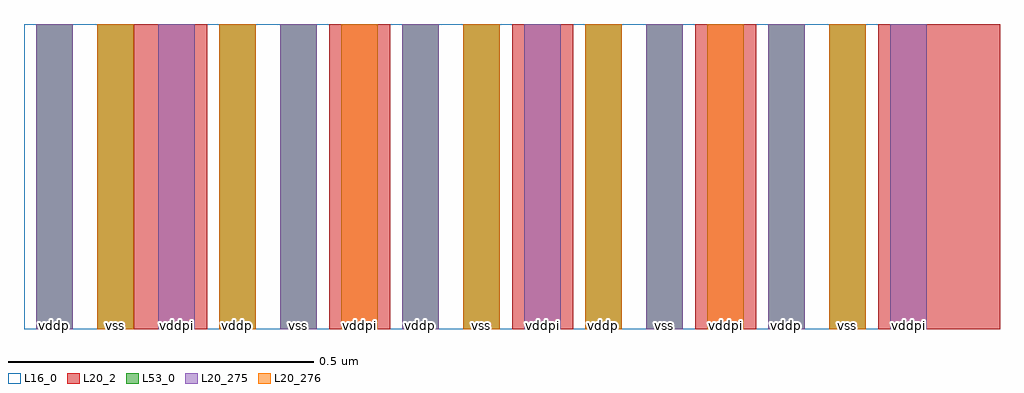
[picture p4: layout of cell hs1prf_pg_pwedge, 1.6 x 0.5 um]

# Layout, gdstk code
import gdstk
lib = gdstk.Library(unit=1e-6, precision=5e-10)
def R(c, l, rs):  # rectangles x0, y0, x1, y1
    for r in rs: c.add(gdstk.rectangle(r[:2], r[2:], *l))
def A(c, l, x, y, w, h, nx, ny, dx, dy):  # array of equal rectangles
    R(c, l, [(x+i*dx, y+j*dy, x+i*dx+w, y+j*dy+h) for i in range(nx) for j in range(ny)])
L16_0 = (16, 0)
L20_2 = (20, 2)
L20_275 = (20, 275)
L20_276 = (20, 276)
L53_0 = (53, 0)

hs1prf_pg_pwedge = lib.new_cell('hs1prf_pg_pwedge')
R(hs1prf_pg_pwedge, L16_0, [(0,0,1.6,0.5)])
A(hs1prf_pg_pwedge, L20_2, 0.5, 0, 0.1, 0.5, 3, 1, 0.3, 0)
R(hs1prf_pg_pwedge, L20_2, [(0.18,0,0.3,0.5), (1.4,0,1.6,0.5)])
R(hs1prf_pg_pwedge, L53_0, [(0.02,0,0.08,0.5), (0.12,0,0.18,0.5), (0.32,0,0.38,0.5), (0.42,0,0.48,0.5), (0.62,0,0.68,0.5), (0.72,0,0.78,0.5), (0.92,0,0.98,0.5), (1.02,0,1.08,0.5), (1.22,0,1.28,0.5), (1.32,0,1.38,0.5)])
hs1prf_pg_pwedge.add(gdstk.FlexPath([(0.05,0),(0.05,0.5)], 0.06, ends="flush", simple_path=True, layer=20, datatype=275))  # L20_275
hs1prf_pg_pwedge.add(gdstk.FlexPath([(0.15,0),(0.15,0.5)], 0.06, ends="flush", simple_path=True, layer=20, datatype=276))  # L20_276
hs1prf_pg_pwedge.add(gdstk.FlexPath([(0.25,0),(0.25,0.5)], 0.06, ends="flush", simple_path=True, layer=20, datatype=275))  # L20_275
hs1prf_pg_pwedge.add(gdstk.FlexPath([(0.35,0),(0.35,0.5)], 0.06, ends="flush", simple_path=True, layer=20, datatype=276))  # L20_276
hs1prf_pg_pwedge.add(gdstk.FlexPath([(0.45,0),(0.45,0.5)], 0.06, ends="flush", simple_path=True, layer=20, datatype=275))  # L20_275
hs1prf_pg_pwedge.add(gdstk.FlexPath([(0.55,0),(0.55,0.5)], 0.06, ends="flush", simple_path=True, layer=20, datatype=276))  # L20_276
hs1prf_pg_pwedge.add(gdstk.FlexPath([(0.65,0),(0.65,0.5)], 0.06, ends="flush", simple_path=True, layer=20, datatype=275))  # L20_275
hs1prf_pg_pwedge.add(gdstk.FlexPath([(0.75,0),(0.75,0.5)], 0.06, ends="flush", simple_path=True, layer=20, datatype=276))  # L20_276
hs1prf_pg_pwedge.add(gdstk.FlexPath([(0.85,0),(0.85,0.5)], 0.06, ends="flush", simple_path=True, layer=20, datatype=275))  # L20_275
hs1prf_pg_pwedge.add(gdstk.FlexPath([(0.95,0),(0.95,0.5)], 0.06, ends="flush", simple_path=True, layer=20, datatype=276))  # L20_276
hs1prf_pg_pwedge.add(gdstk.FlexPath([(1.05,0),(1.05,0.5)], 0.06, ends="flush", simple_path=True, layer=20, datatype=275))  # L20_275
hs1prf_pg_pwedge.add(gdstk.FlexPath([(1.15,0),(1.15,0.5)], 0.06, ends="flush", simple_path=True, layer=20, datatype=276))  # L20_276
hs1prf_pg_pwedge.add(gdstk.FlexPath([(1.25,0),(1.25,0.5)], 0.06, ends="flush", simple_path=True, layer=20, datatype=275))  # L20_275
hs1prf_pg_pwedge.add(gdstk.FlexPath([(1.35,0),(1.35,0.5)], 0.06, ends="flush", simple_path=True, layer=20, datatype=276))  # L20_276
hs1prf_pg_pwedge.add(gdstk.FlexPath([(1.45,0),(1.45,0.5)], 0.06, ends="flush", simple_path=True, layer=20, datatype=275))  # L20_275
hs1prf_pg_pwedge.add(gdstk.Label('vddp', (0.05,0.005), layer=60, texttype=0))
hs1prf_pg_pwedge.add(gdstk.Label('vss', (0.15,0.005), layer=60, texttype=0))
hs1prf_pg_pwedge.add(gdstk.Label('vddpi', (0.25,0.005), layer=60, texttype=0))
hs1prf_pg_pwedge.add(gdstk.Label('vddp', (0.35,0.005), layer=60, texttype=0))
hs1prf_pg_pwedge.add(gdstk.Label('vss', (0.45,0.005), layer=60, texttype=0))
hs1prf_pg_pwedge.add(gdstk.Label('vddpi', (0.55,0.005), layer=60, texttype=0))
hs1prf_pg_pwedge.add(gdstk.Label('vddp', (0.65,0.005), layer=60, texttype=0))
hs1prf_pg_pwedge.add(gdstk.Label('vss', (0.75,0.005), layer=60, texttype=0))
hs1prf_pg_pwedge.add(gdstk.Label('vddpi', (0.85,0.005), layer=60, texttype=0))
hs1prf_pg_pwedge.add(gdstk.Label('vddp', (0.95,0.005), layer=60, texttype=0))
hs1prf_pg_pwedge.add(gdstk.Label('vss', (1.05,0.005), layer=60, texttype=0))
hs1prf_pg_pwedge.add(gdstk.Label('vddpi', (1.15,0.005), layer=60, texttype=0))
hs1prf_pg_pwedge.add(gdstk.Label('vddp', (1.25,0.005), layer=60, texttype=0))
hs1prf_pg_pwedge.add(gdstk.Label('vss', (1.35,0.005), layer=60, texttype=0))
hs1prf_pg_pwedge.add(gdstk.Label('vddpi', (1.45,0.005), layer=60, texttype=0))

lib.write_gds('hs1prf_pg_pwedge.gds')
